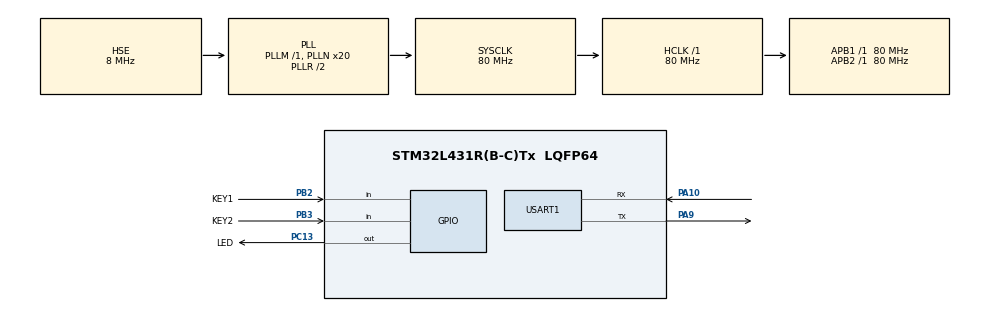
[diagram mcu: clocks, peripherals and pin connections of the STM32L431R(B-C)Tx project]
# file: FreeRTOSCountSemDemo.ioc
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FREERTOS.CountingSemaphores01=myCountingSem01,5,Dynamic,NULL
FREERTOS.Tasks01=Tack_Task,0,128,StartDefaultTask,Default,NULL,Dynamic,NULL,NULL;Give_Task,-2,128,StartTask02,Default,NULL,Dynamic,NULL,NULL
FREERTOS.configUSE_COUNTING_SEMAPHORES=1
Mcu.Family=STM32L4
Mcu.Name=STM32L431R(B-C)Tx
Mcu.Package=LQFP64
NVIC.PriorityGroup=NVIC_PRIORITYGROUP_4
NVIC.TIM1_UP_TIM16_IRQn=true\:0\:0\:false\:false\:true\:false\:false\:true
NVIC.TimeBase=TIM1_UP_TIM16_IRQn
NVIC.TimeBaseIP=TIM1
PA10.Mode=Asynchronous
PA10.Signal=USART1_RX
PA9.Mode=Asynchronous
PA9.Signal=USART1_TX
PB2.GPIO_Label=KEY1
PB2.GPIO_PuPd=GPIO_PULLUP
PB2.Signal=GPIO_Input
PB3\ (JTDO-TRACESWO).GPIO_Label=KEY2
PB3\ (JTDO-TRACESWO).GPIO_PuPd=GPIO_PULLUP
PB3\ (JTDO-TRACESWO).Signal=GPIO_Input
PC13.GPIO_Label=LED
PC13.Signal=GPIO_Output
PC14-OSC32_IN\ (PC14).Mode=LSE-External-Oscillator
PC14-OSC32_IN\ (PC14).Signal=RCC_OSC32_IN
PC15-OSC32_OUT\ (PC15).Mode=LSE-External-Oscillator
PC15-OSC32_OUT\ (PC15).Signal=RCC_OSC32_OUT
PH0-OSC_IN\ (PH0).Mode=HSE-External-Oscillator
PH0-OSC_IN\ (PH0).Signal=RCC_OSC_IN
PH1-OSC_OUT\ (PH1).Mode=HSE-External-Oscillator
PH1-OSC_OUT\ (PH1).Signal=RCC_OSC_OUT
ProjectManager.HeapSize=0x200
ProjectManager.StackSize=0x400
ProjectManager.TargetToolchain=SW4STM32
RCC.ADCFreq_Value=32000000
RCC.AHBFreq_Value=80000000
RCC.APB1Freq_Value=80000000
RCC.APB1TimFreq_Value=80000000
RCC.APB2Freq_Value=80000000
RCC.APB2TimFreq_Value=80000000
RCC.CortexFreq_Value=80000000
RCC.HCLKFreq_Value=80000000
RCC.HSE_VALUE=8000000
RCC.HSI48_VALUE=48000000
RCC.HSI_VALUE=16000000
RCC.MSI_VALUE=4000000
RCC.PLLN=20
RCC.PLLSourceVirtual=RCC_PLLSOURCE_HSE
RCC.SYSCLKFreq_VALUE=80000000
RCC.SYSCLKSource=RCC_SYSCLKSOURCE_PLLCLK
RCC.VCOOutputFreq_Value=160000000
USART1.VirtualMode-Asynchronous=VM_ASYNC
VP_FREERTOS_VS_CMSIS_V1.Mode=CMSIS_V1
VP_SYS_VS_tim1.Mode=TIM1
board=custom

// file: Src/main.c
/* USER CODE BEGIN Header */
/**
  ******************************************************************************
  * @file           : main.c
  * @brief          : Main program body
  ******************************************************************************
  * @attention
  *
  * <h2><center>&copy; Copyright (c) 2020 STMicroelectronics.
  * All rights reserved.</center></h2>
  *
  * This software component is licensed by ST under Ultimate Liberty license
  * SLA0044, the "License"; You may not use this file except in compliance with
  * the License. You may obtain a copy of the License at:
  *                             www.st.com/SLA0044
  *
  ******************************************************************************
  */
/* USER CODE END Header */

#include "main.h"
#include "cmsis_os.h"
#include "usart.h"
#include "gpio.h"
#include <stdio.h>
int _write(int fd, char *ptr, int len)
{
    HAL_UART_Transmit(&huart1,(uint8_t*)ptr, len, 0xFFFF);
    return len;
}

void SystemClock_Config(void);
void MX_FREERTOS_Init(void);

int main(void)
{

  /* MCU Configuration--------------------------------------------------------*/

  /* Reset of all peripherals, Initializes the Flash interface and the Systick. */
  HAL_Init();

  /* Configure the system clock */
  SystemClock_Config();

  /* Initialize all configured peripherals */
  MX_GPIO_Init();
  MX_USART1_UART_Init();
  /* USER CODE BEGIN 2 */
  printf("CountingSemDemo\n");

  /* USER CODE END 2 */

  /* Call init function for freertos objects (in freertos.c) */
  MX_FREERTOS_Init();

  /* Start scheduler */
  osKernelStart();

  /* We should never get here as control is now taken by the scheduler */

  /* Infinite loop */
  while (1)
  {

  }
}

void SystemClock_Config(void)
{
  RCC_OscInitTypeDef RCC_OscInitStruct = {0};
  RCC_ClkInitTypeDef RCC_ClkInitStruct = {0};
  RCC_PeriphCLKInitTypeDef PeriphClkInit = {0};

  /** Initializes the CPU, AHB and APB busses clocks
  */
  RCC_OscInitStruct.OscillatorType = RCC_OSCILLATORTYPE_HSE;
  RCC_OscInitStruct.HSEState = RCC_HSE_ON;
  RCC_OscInitStruct.PLL.PLLState = RCC_PLL_ON;
  RCC_OscInitStruct.PLL.PLLSource = RCC_PLLSOURCE_HSE;
  RCC_OscInitStruct.PLL.PLLM = 1;
  RCC_OscInitStruct.PLL.PLLN = 20;
  RCC_OscInitStruct.PLL.PLLP = RCC_PLLP_DIV7;
  RCC_OscInitStruct.PLL.PLLQ = RCC_PLLQ_DIV2;
  RCC_OscInitStruct.PLL.PLLR = RCC_PLLR_DIV2;
  if (HAL_RCC_OscConfig(&RCC_OscInitStruct) != HAL_OK)
  {
    Error_Handler();
  }
  /** Initializes the CPU, AHB and APB busses clocks
  */
  RCC_ClkInitStruct.ClockType = RCC_CLOCKTYPE_HCLK|RCC_CLOCKTYPE_SYSCLK
                              |RCC_CLOCKTYPE_PCLK1|RCC_CLOCKTYPE_PCLK2;
  RCC_ClkInitStruct.SYSCLKSource = RCC_SYSCLKSOURCE_PLLCLK;
  RCC_ClkInitStruct.AHBCLKDivider = RCC_SYSCLK_DIV1;
  RCC_ClkInitStruct.APB1CLKDivider = RCC_HCLK_DIV1;
  RCC_ClkInitStruct.APB2CLKDivider = RCC_HCLK_DIV1;

  if (HAL_RCC_ClockConfig(&RCC_ClkInitStruct, FLASH_LATENCY_4) != HAL_OK)
  {
    Error_Handler();
  }
  PeriphClkInit.PeriphClockSelection = RCC_PERIPHCLK_USART1;
  PeriphClkInit.Usart1ClockSelection = RCC_USART1CLKSOURCE_PCLK2;
  if (HAL_RCCEx_PeriphCLKConfig(&PeriphClkInit) != HAL_OK)
  {
    Error_Handler();
  }
  /** Configure the main internal regulator output voltage
  */
  if (HAL_PWREx_ControlVoltageScaling(PWR_REGULATOR_VOLTAGE_SCALE1) != HAL_OK)
  {
    Error_Handler();
  }
}

void HAL_TIM_PeriodElapsedCallback(TIM_HandleTypeDef *htim)
{
  if (htim->Instance == TIM1) {
    HAL_IncTick();
  }
}

void Error_Handler(void)
{
}

/************************ (C) COPYRIGHT STMicroelectronics *****END OF FILE****/

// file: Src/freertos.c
/* USER CODE BEGIN Header */
/**
  ******************************************************************************
  * File Name          : freertos.c
  * Description        : Code for freertos applications
  ******************************************************************************
  * @attention
  *
  * <h2><center>&copy; Copyright (c) 2020 STMicroelectronics.
  * All rights reserved.</center></h2>
  *
  * This software component is licensed by ST under Ultimate Liberty license
  * SLA0044, the "License"; You may not use this file except in compliance with
  * the License. You may obtain a copy of the License at:
  *                             www.st.com/SLA0044
  *
  ******************************************************************************
  */
/* USER CODE END Header */

#include "FreeRTOS.h"
#include "task.h"
#include "main.h"
#include "cmsis_os.h"
#include <stdio.h>

osThreadId Tack_TaskHandle;
osThreadId Give_TaskHandle;
osSemaphoreId myCountingSem01Handle;

void StartDefaultTask(void const * argument);
void StartTask02(void const * argument);

void MX_FREERTOS_Init(void); /* (MISRA C 2004 rule 8.1) */

/* GetIdleTaskMemory prototype (linked to static allocation support) */
void vApplicationGetIdleTaskMemory( StaticTask_t **ppxIdleTaskTCBBuffer, StackType_t **ppxIdleTaskStackBuffer, uint32_t *pulIdleTaskStackSize );

/* USER CODE BEGIN GET_IDLE_TASK_MEMORY */
static StaticTask_t xIdleTaskTCBBuffer;
static StackType_t xIdleStack[configMINIMAL_STACK_SIZE];

void vApplicationGetIdleTaskMemory( StaticTask_t **ppxIdleTaskTCBBuffer, StackType_t **ppxIdleTaskStackBuffer, uint32_t *pulIdleTaskStackSize )
{
  *ppxIdleTaskTCBBuffer = &xIdleTaskTCBBuffer;
  *ppxIdleTaskStackBuffer = &xIdleStack[0];
  *pulIdleTaskStackSize = configMINIMAL_STACK_SIZE;
  /* place for user code */
}
/* USER CODE END GET_IDLE_TASK_MEMORY */

void MX_FREERTOS_Init(void) {

  /* Create the semaphores(s) */
  /* definition and creation of myCountingSem01 */
  osSemaphoreDef(myCountingSem01);
  myCountingSem01Handle = osSemaphoreCreate(osSemaphore(myCountingSem01), 5);

  /* Create the thread(s) */
  /* definition and creation of Tack_Task */
  osThreadDef(Tack_Task, StartDefaultTask, osPriorityNormal, 0, 128);
  Tack_TaskHandle = osThreadCreate(osThread(Tack_Task), NULL);

  /* definition and creation of Give_Task */
  osThreadDef(Give_Task, StartTask02, osPriorityLow, 0, 128);
  Give_TaskHandle = osThreadCreate(osThread(Give_Task), NULL);

}

void StartDefaultTask(void const * argument)
{
  /* USER CODE BEGIN StartDefaultTask */
  BaseType_t xReturn = pdTRUE;
  /* Infinite loop */
  for(;;)
  {
    if(HAL_GPIO_ReadPin(KEY1_GPIO_Port, KEY1_Pin) == GPIO_PIN_RESET){
        HAL_GPIO_TogglePin(LED_GPIO_Port, LED_Pin);
        xReturn = xSemaphoreTake(myCountingSem01Handle, 0);
        if(xReturn == pdTRUE){
            printf("KEY1被摁下， 成功申请一个车位\n");
        }
        else{
            printf("KEY1被摁下，不好意思，现在停车场满了\n");
        }
    }
    osDelay(300);
  }
  /* USER CODE END StartDefaultTask */
}

void StartTask02(void const * argument)
{
  /* USER CODE BEGIN StartTask02 */
  BaseType_t xReturn = pdTRUE;
  /* Infinite loop */
  for(;;)
  {
      if(HAL_GPIO_ReadPin(KEY2_GPIO_Port, KEY2_Pin) == GPIO_PIN_RESET){
          HAL_GPIO_TogglePin(LED_GPIO_Port, LED_Pin);
          xReturn = xSemaphoreGive(myCountingSem01Handle);
          if(xReturn == pdTRUE){
              printf("KEY2被摁下， 成功释放一个车位\n");
          }
          else{
              printf("KEY2被摁下，但车位都空了\n");
          }
      }
    osDelay(300);
  }
  /* USER CODE END StartTask02 */
}

/************************ (C) COPYRIGHT STMicroelectronics *****END OF FILE****/
